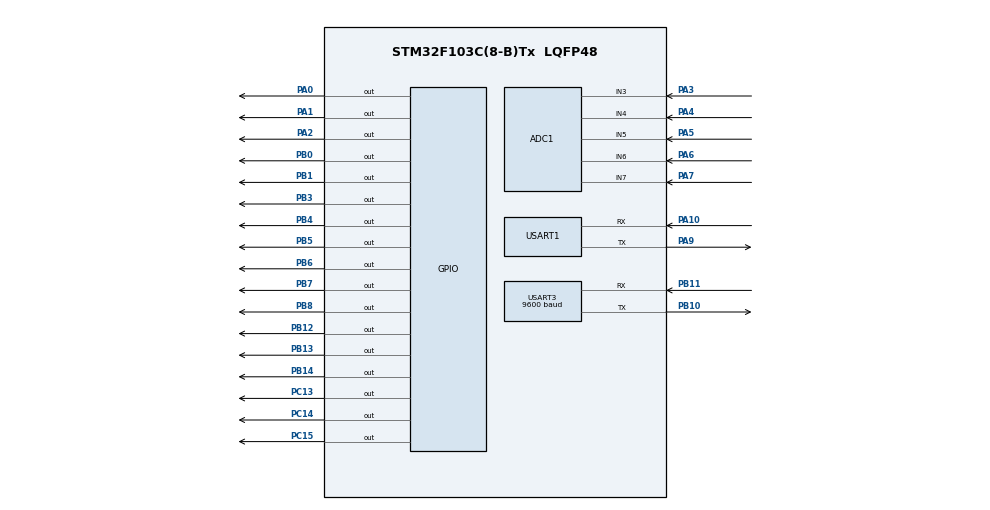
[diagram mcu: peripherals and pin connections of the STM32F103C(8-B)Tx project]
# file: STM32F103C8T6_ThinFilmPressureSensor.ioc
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ADC1.Channel-0\#ChannelRegularConversion=ADC_CHANNEL_3
ADC1.Channel-1\#ChannelRegularConversion=ADC_CHANNEL_4
ADC1.Channel-2\#ChannelRegularConversion=ADC_CHANNEL_5
ADC1.Channel-3\#ChannelRegularConversion=ADC_CHANNEL_6
ADC1.Channel-4\#ChannelRegularConversion=ADC_CHANNEL_7
ADC1.ContinuousConvMode=DISABLE
ADC1.DiscontinuousConvMode=DISABLE
ADC1.EnableInjectedConversion=DISABLE
ADC1.NbrOfConversion=5
ADC1.NbrOfConversionFlag=1
ADC1.Rank-0\#ChannelRegularConversion=1
ADC1.Rank-1\#ChannelRegularConversion=2
ADC1.Rank-2\#ChannelRegularConversion=3
ADC1.Rank-3\#ChannelRegularConversion=4
ADC1.Rank-4\#ChannelRegularConversion=5
ADC1.SamplingTime-0\#ChannelRegularConversion=ADC_SAMPLETIME_1CYCLE_5
ADC1.SamplingTime-1\#ChannelRegularConversion=ADC_SAMPLETIME_1CYCLE_5
ADC1.SamplingTime-2\#ChannelRegularConversion=ADC_SAMPLETIME_1CYCLE_5
ADC1.SamplingTime-3\#ChannelRegularConversion=ADC_SAMPLETIME_1CYCLE_5
ADC1.SamplingTime-4\#ChannelRegularConversion=ADC_SAMPLETIME_1CYCLE_5
ADC1.master=1
Dma.ADC1.0.Direction=DMA_PERIPH_TO_MEMORY
Dma.ADC1.0.Instance=DMA1_Channel1
Dma.ADC1.0.MemDataAlignment=DMA_MDATAALIGN_HALFWORD
Dma.ADC1.0.MemInc=DMA_MINC_ENABLE
Dma.ADC1.0.Mode=DMA_CIRCULAR
Dma.ADC1.0.PeriphDataAlignment=DMA_PDATAALIGN_HALFWORD
Dma.ADC1.0.PeriphInc=DMA_PINC_DISABLE
Dma.ADC1.0.Priority=DMA_PRIORITY_LOW
Dma.Request0=ADC1
FREERTOS.Tasks01=defaultTask,0,128,StartDefaultTask,Default,NULL,Static,defaultTaskBuffer,defaultTaskControlBlock;scanADC,-3,128,StartTask02,Default,NULL,Dynamic,NULL,NULL;bleSend,-3,128,StartTask03,Default,NULL,Static,myTask03Buffer,myTask03ControlBlock
Mcu.Family=STM32F1
Mcu.Name=STM32F103C(8-B)Tx
Mcu.Package=LQFP48
NVIC.DMA1_Channel1_IRQn=true\:5\:0\:false\:false\:true\:true\:false\:true\:true
NVIC.PriorityGroup=NVIC_PRIORITYGROUP_4
PA0-WKUP.Signal=GPIO_Output
PA1.Signal=GPIO_Output
PA10.Mode=Asynchronous
PA10.Signal=USART1_RX
PA13.Mode=Serial_Wire
PA13.Signal=SYS_JTMS-SWDIO
PA14.Mode=Serial_Wire
PA14.Signal=SYS_JTCK-SWCLK
PA2.Signal=GPIO_Output
PA3.Signal=ADCx_IN3
PA4.Signal=ADCx_IN4
PA5.Signal=ADCx_IN5
PA6.Signal=ADCx_IN6
PA7.Signal=ADCx_IN7
PA9.Mode=Asynchronous
PA9.Signal=USART1_TX
PB0.Signal=GPIO_Output
PB1.Signal=GPIO_Output
PB10.Mode=Asynchronous
PB10.Signal=USART3_TX
PB11.Mode=Asynchronous
PB11.Signal=USART3_RX
PB12.Signal=GPIO_Output
PB13.Signal=GPIO_Output
PB14.Signal=GPIO_Output
PB3.Signal=GPIO_Output
PB4.Signal=GPIO_Output
PB5.Signal=GPIO_Output
PB6.Signal=GPIO_Output
PB7.Signal=GPIO_Output
PB8.Signal=GPIO_Output
PC13-TAMPER-RTC.Signal=GPIO_Output
PC14-OSC32_IN.Signal=GPIO_Output
PC15-OSC32_OUT.Signal=GPIO_Output
PD0-OSC_IN.Mode=HSE-External-Oscillator
PD0-OSC_IN.Signal=RCC_OSC_IN
PD1-OSC_OUT.Mode=HSE-External-Oscillator
PD1-OSC_OUT.Signal=RCC_OSC_OUT
ProjectManager.HeapSize=0x200
ProjectManager.StackSize=0x400
ProjectManager.TargetToolchain=MDK-ARM V5.32
RCC.APB1Freq_Value=8000000
RCC.APB2Freq_Value=8000000
SH.ADCx_IN3.0=ADC1_IN3,IN3
SH.ADCx_IN4.0=ADC1_IN4,IN4
SH.ADCx_IN5.0=ADC1_IN5,IN5
SH.ADCx_IN6.0=ADC1_IN6,IN6
SH.ADCx_IN7.0=ADC1_IN7,IN7
USART1.VirtualMode=VM_ASYNC
USART3.BaudRate=9600
USART3.VirtualMode=VM_ASYNC
VP_FREERTOS_VS_CMSIS_V1.Mode=CMSIS_V1
board=custom

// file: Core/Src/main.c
/* USER CODE BEGIN Header */
/**
  ******************************************************************************
  * @file           : main.c
  * @brief          : Main program body
  ******************************************************************************
  * @attention
  *
  * Copyright (c) 2024 STMicroelectronics.
  * All rights reserved.
  *
  * This software is licensed under terms that can be found in the LICENSE file
  * in the root directory of this software component.
  * If no LICENSE file comes with this software, it is provided AS-IS.
  *
  ******************************************************************************
  */
/* USER CODE END Header */
#include "main.h"
#include "cmsis_os.h"
#include "adc.h"
#include "dma.h"
#include "usart.h"
#include "gpio.h"

/* USER CODE BEGIN PTD */
machine_state_t machine_state;
/* USER CODE END PTD */

void SystemClock_Config(void);
void MX_FREERTOS_Init(void);

int main(void)
{

  /* MCU Configuration--------------------------------------------------------*/

  /* Reset of all peripherals, Initializes the Flash interface and the Systick. */
  HAL_Init();

  /* Configure the system clock */
  SystemClock_Config();

  /* Initialize all configured peripherals */
  MX_GPIO_Init();
  MX_DMA_Init();
  MX_ADC1_Init();
  MX_USART1_UART_Init();
  MX_USART3_UART_Init();

  /* Call init function for freertos objects (in cmsis_os2.c) */
  MX_FREERTOS_Init();

  /* Start scheduler */
  osKernelStart();

  /* We should never get here as control is now taken by the scheduler */

  /* Infinite loop */
  while (1)
  {

  }
}

void SystemClock_Config(void)
{
  RCC_OscInitTypeDef RCC_OscInitStruct = {0};
  RCC_ClkInitTypeDef RCC_ClkInitStruct = {0};
  RCC_PeriphCLKInitTypeDef PeriphClkInit = {0};

  /** Initializes the RCC Oscillators according to the specified parameters
  * in the RCC_OscInitTypeDef structure.
  */
  RCC_OscInitStruct.OscillatorType = RCC_OSCILLATORTYPE_HSI;
  RCC_OscInitStruct.HSIState = RCC_HSI_ON;
  RCC_OscInitStruct.HSICalibrationValue = RCC_HSICALIBRATION_DEFAULT;
  RCC_OscInitStruct.PLL.PLLState = RCC_PLL_NONE;
  if (HAL_RCC_OscConfig(&RCC_OscInitStruct) != HAL_OK)
  {
    Error_Handler();
  }

  /** Initializes the CPU, AHB and APB buses clocks
  */
  RCC_ClkInitStruct.ClockType = RCC_CLOCKTYPE_HCLK|RCC_CLOCKTYPE_SYSCLK
                              |RCC_CLOCKTYPE_PCLK1|RCC_CLOCKTYPE_PCLK2;
  RCC_ClkInitStruct.SYSCLKSource = RCC_SYSCLKSOURCE_HSI;
  RCC_ClkInitStruct.AHBCLKDivider = RCC_SYSCLK_DIV1;
  RCC_ClkInitStruct.APB1CLKDivider = RCC_HCLK_DIV1;
  RCC_ClkInitStruct.APB2CLKDivider = RCC_HCLK_DIV1;

  if (HAL_RCC_ClockConfig(&RCC_ClkInitStruct, FLASH_LATENCY_0) != HAL_OK)
  {
    Error_Handler();
  }
  PeriphClkInit.PeriphClockSelection = RCC_PERIPHCLK_ADC;
  PeriphClkInit.AdcClockSelection = RCC_ADCPCLK2_DIV2;
  if (HAL_RCCEx_PeriphCLKConfig(&PeriphClkInit) != HAL_OK)
  {
    Error_Handler();
  }
}

void Error_Handler(void)
{
  __disable_irq();
  while (1)
  {
  }
}

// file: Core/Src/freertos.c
/* USER CODE BEGIN Header */
/**
 ******************************************************************************
 * File Name          : freertos.c
 * Description        : Code for freertos applications
 ******************************************************************************
 * @attention
 *
 * Copyright (c) 2024 STMicroelectronics.
 * All rights reserved.
 *
 * This software is licensed under terms that can be found in the LICENSE file
 * in the root directory of this software component.
 * If no LICENSE file comes with this software, it is provided AS-IS.
 *
 ******************************************************************************
 */
/* USER CODE END Header */

#include "FreeRTOS.h"
#include "cmsis_os.h"
#include "main.h"
#include "task.h"

/* USER CODE BEGIN Includes */
#include "adc.h"
#include "stm32f103xb.h"
#include "usart.h"
#include <stdint.h>
#include <stdbool.h>
#include "../../User/hc4051.h"
/* USER CODE END Includes */

osThreadId          defaultTaskHandle;
uint32_t            defaultTaskBuffer[128];
osStaticThreadDef_t defaultTaskControlBlock;
osThreadId          scanADCHandle;
osThreadId          bleSendHandle;
uint32_t            myTask03Buffer[128];
osStaticThreadDef_t myTask03ControlBlock;

void StartDefaultTask(void const* argument);
void StartTask02(void const* argument);
void StartTask03(void const* argument);

void MX_FREERTOS_Init(void); /* (MISRA C 2004 rule 8.1) */

/* GetIdleTaskMemory prototype (linked to static allocation support) */
void vApplicationGetIdleTaskMemory(StaticTask_t** ppxIdleTaskTCBBuffer, StackType_t** ppxIdleTaskStackBuffer, uint32_t* pulIdleTaskStackSize);

/* USER CODE BEGIN GET_IDLE_TASK_MEMORY */
static StaticTask_t xIdleTaskTCBBuffer;
static StackType_t  xIdleStack[configMINIMAL_STACK_SIZE];

void vApplicationGetIdleTaskMemory(StaticTask_t** ppxIdleTaskTCBBuffer, StackType_t** ppxIdleTaskStackBuffer, uint32_t* pulIdleTaskStackSize)
{
    *ppxIdleTaskTCBBuffer   = &xIdleTaskTCBBuffer;
    *ppxIdleTaskStackBuffer = &xIdleStack[0];
    *pulIdleTaskStackSize   = configMINIMAL_STACK_SIZE;
    /* place for user code */
}
/* USER CODE END GET_IDLE_TASK_MEMORY */

void MX_FREERTOS_Init(void)
{

    /* Create the thread(s) */
    /* definition and creation of defaultTask */
    osThreadStaticDef(defaultTask, StartDefaultTask, osPriorityNormal, 0, 128, defaultTaskBuffer, &defaultTaskControlBlock);
    defaultTaskHandle = osThreadCreate(osThread(defaultTask), NULL);

    /* definition and creation of scanADC */
    osThreadDef(scanADC, StartTask02, osPriorityIdle, 0, 128);
    scanADCHandle = osThreadCreate(osThread(scanADC), NULL);

    /* definition and creation of bleSend */
    osThreadStaticDef(bleSend, StartTask03, osPriorityIdle, 0, 128, myTask03Buffer, &myTask03ControlBlock);
    bleSendHandle = osThreadCreate(osThread(bleSend), NULL);

}

void StartDefaultTask(void const* argument)
{
    for (;;)
    {
        osDelay(1);
    }
}

/* USER CODE BEGIN Header_StartTask02 */
/**
 * @brief Function implementing the scanADC thread.
 * @param argument: Not used
 * @retval None
 */
void set_ic1_s0(bool state)
{
    HAL_GPIO_WritePin(GPIOB, GPIO_PIN_3, state ? GPIO_PIN_SET : GPIO_PIN_RESET);
}
void set_ic1_s1(bool state)
{
    HAL_GPIO_WritePin(GPIOB, GPIO_PIN_4, state ? GPIO_PIN_SET : GPIO_PIN_RESET);
}
void set_ic1_s2(bool state)
{
    HAL_GPIO_WritePin(GPIOB, GPIO_PIN_5, state ? GPIO_PIN_SET : GPIO_PIN_RESET);
}
//
void set_ic2_s0(bool state)
{
    HAL_GPIO_WritePin(GPIOB, GPIO_PIN_6, state ? GPIO_PIN_SET : GPIO_PIN_RESET);
}
void set_ic2_s1(bool state)
{
    HAL_GPIO_WritePin(GPIOB, GPIO_PIN_7, state ? GPIO_PIN_SET : GPIO_PIN_RESET);
}
void set_ic2_s2(bool state)
{
    HAL_GPIO_WritePin(GPIOB, GPIO_PIN_8, state ? GPIO_PIN_SET : GPIO_PIN_RESET);
}
//
void set_ic3_s0(bool state)
{
    HAL_GPIO_WritePin(GPIOA, GPIO_PIN_2, state ? GPIO_PIN_SET : GPIO_PIN_RESET);
}
void set_ic3_s1(bool state)
{
    HAL_GPIO_WritePin(GPIOA, GPIO_PIN_1, state ? GPIO_PIN_SET : GPIO_PIN_RESET);
}
void set_ic3_s2(bool state)
{
    HAL_GPIO_WritePin(GPIOB, GPIO_PIN_0, state ? GPIO_PIN_SET : GPIO_PIN_RESET);
}
//
void set_ic4_s0(bool state)
{
    HAL_GPIO_WritePin(GPIOC, GPIO_PIN_13, state ? GPIO_PIN_SET : GPIO_PIN_RESET);
}
void set_ic4_s1(bool state)
{
    HAL_GPIO_WritePin(GPIOC, GPIO_PIN_14, state ? GPIO_PIN_SET : GPIO_PIN_RESET);
}
void set_ic4_s2(bool state)
{
    HAL_GPIO_WritePin(GPIOC, GPIO_PIN_15, state ? GPIO_PIN_SET : GPIO_PIN_RESET);
}
//
void set_ic5_s0(bool state)
{
    HAL_GPIO_WritePin(GPIOB, GPIO_PIN_14, state ? GPIO_PIN_SET : GPIO_PIN_RESET);
}
void set_ic5_s1(bool state)
{
    HAL_GPIO_WritePin(GPIOB, GPIO_PIN_13, state ? GPIO_PIN_SET : GPIO_PIN_RESET);
}
void set_ic5_s2(bool state)
{
    HAL_GPIO_WritePin(GPIOB, GPIO_PIN_12, state ? GPIO_PIN_SET : GPIO_PIN_RESET);
}
/* USER CODE END Header_StartTask02 */
void StartTask02(void const* argument)
{
    /* USER CODE BEGIN StartTask02 */

    // 初始化HC4051
    hc4051_init(&HC4051_ic1, set_ic1_s0, set_ic1_s1, set_ic1_s2, NULL);
    hc4051_init(&HC4051_ic2, set_ic2_s0, set_ic2_s1, set_ic2_s2, NULL);
    hc4051_init(&HC4051_ic3, set_ic3_s0, set_ic3_s1, set_ic3_s2, NULL);
    hc4051_init(&HC4051_ic4, set_ic4_s0, set_ic4_s1, set_ic4_s2, NULL);
    hc4051_init(&HC4051_ic5, set_ic5_s0, set_ic5_s1, set_ic5_s2, NULL);

    /* Infinite loop */
    for (;;)
    {
        // 将DMA数据转换为ADC值
        machine_state.hc4051_ic1_current_ADC                                             = machine_state.dma_adc[0];
        machine_state.hc4051_ic2_current_ADC                                             = machine_state.dma_adc[1];
        machine_state.hc4051_ic3_current_ADC                                             = machine_state.dma_adc[2];
        machine_state.hc4051_ic4_current_ADC                                             = machine_state.dma_adc[3];
        machine_state.hc4051_ic5_current_ADC                                             = machine_state.dma_adc[4];
        machine_state.thinFilePressSensor_ADC[machine_state.hc4051_ic1_channel]          = machine_state.hc4051_ic1_current_ADC;
        machine_state.thinFilePressSensor_ADC[machine_state.hc4051_ic2_channel + 8 - 1]  = machine_state.hc4051_ic2_current_ADC;
        machine_state.thinFilePressSensor_ADC[machine_state.hc4051_ic3_channel + 16 - 1] = machine_state.hc4051_ic3_current_ADC;
        machine_state.thinFilePressSensor_ADC[machine_state.hc4051_ic4_channel + 24 - 1] = machine_state.hc4051_ic4_current_ADC;
        machine_state.thinFilePressSensor_ADC[machine_state.hc4051_ic5_channel + 32 - 1] = machine_state.hc4051_ic5_current_ADC;
        // 通道号
        machine_state.hc4051_ic1_channel++;
        if (machine_state.hc4051_ic1_channel > 7)
        {
            machine_state.hc4051_ic1_channel = 0;
        }
        machine_state.hc4051_ic2_channel++;
        if (machine_state.hc4051_ic2_channel > 7)
        {
            machine_state.hc4051_ic2_channel = 0;
        }
        machine_state.hc4051_ic3_channel++;
        if (machine_state.hc4051_ic3_channel > 7)
        {
            machine_state.hc4051_ic3_channel = 0;
        }
        machine_state.hc4051_ic4_channel++;
        if (machine_state.hc4051_ic4_channel > 7)
        {
            machine_state.hc4051_ic4_channel = 0;
        }
        machine_state.hc4051_ic5_channel++;
        if (machine_state.hc4051_ic5_channel > 7)
        {
            machine_state.hc4051_ic5_channel = 0;
        }
        hc4051_selectChannel(&HC4051_ic1, machine_state.hc4051_ic1_channel);
        hc4051_selectChannel(&HC4051_ic2, machine_state.hc4051_ic2_channel);
        hc4051_selectChannel(&HC4051_ic3, machine_state.hc4051_ic3_channel);
        hc4051_selectChannel(&HC4051_ic4, machine_state.hc4051_ic4_channel);
        hc4051_selectChannel(&HC4051_ic5, machine_state.hc4051_ic5_channel);
        HAL_ADC_Start_DMA(&hadc1, (uint32_t*)machine_state.dma_adc, 5);
        osDelay(pdMS_TO_TICKS(100));
    }
    /* USER CODE END StartTask02 */
}

void StartTask03(void const* argument)
{
    /* USER CODE BEGIN StartTask03 */
    /* Infinite loop */
    for (;;)
    {
        if (machine_state.ble_select == 1)
        {
            machine_state.ble_data_select = machine_state.ble_data_bin1;
            machine_state.ble_data_other  = machine_state.ble_data_bin2;
        }
        else
        {
            machine_state.ble_data_select = machine_state.ble_data_bin2;
            machine_state.ble_data_other  = machine_state.ble_data_bin1;
        }
        HAL_UART_Transmit_IT(&huart3, machine_state.ble_data_select, 1024);
        sprintf(
            machine_state.ble_data_other, "1:%d,%d,%d,%d,%d,%d,%d,%d,%d,%d,%d,%d,%d,%d,%d,%d,%d,%d,%d,%d,%d,%d,%d,%d,%d,%d,%d,%d,%d,%d,%d,%d,%d,%d,%d,%d",  //
            machine_state.thinFilePressSensor_ADC[0], machine_state.thinFilePressSensor_ADC[1], machine_state.thinFilePressSensor_ADC[2], machine_state.thinFilePressSensor_ADC[3],
            machine_state.thinFilePressSensor_ADC[4], machine_state.thinFilePressSensor_ADC[5], machine_state.thinFilePressSensor_ADC[6], machine_state.thinFilePressSensor_ADC[7],
            machine_state.thinFilePressSensor_ADC[8], machine_state.thinFilePressSensor_ADC[9], machine_state.thinFilePressSensor_ADC[10], machine_state.thinFilePressSensor_ADC[11],
            machine_state.thinFilePressSensor_ADC[12], machine_state.thinFilePressSensor_ADC[13], machine_state.thinFilePressSensor_ADC[14], machine_state.thinFilePressSensor_ADC[15],
            machine_state.thinFilePressSensor_ADC[16], machine_state.thinFilePressSensor_ADC[17], machine_state.thinFilePressSensor_ADC[18], machine_state.thinFilePressSensor_ADC[19],
            machine_state.thinFilePressSensor_ADC[20], machine_state.thinFilePressSensor_ADC[21], machine_state.thinFilePressSensor_ADC[22], machine_state.thinFilePressSensor_ADC[23],
            machine_state.thinFilePressSensor_ADC[24], machine_state.thinFilePressSensor_ADC[25], machine_state.thinFilePressSensor_ADC[26], machine_state.thinFilePressSensor_ADC[27],
            machine_state.thinFilePressSensor_ADC[28], machine_state.thinFilePressSensor_ADC[29], machine_state.thinFilePressSensor_ADC[30], machine_state.thinFilePressSensor_ADC[31],
            machine_state.thinFilePressSensor_ADC[32], machine_state.thinFilePressSensor_ADC[33], machine_state.thinFilePressSensor_ADC[34], machine_state.thinFilePressSensor_ADC[35]);

        osDelay(pdMS_TO_TICKS(10));
    }
    /* USER CODE END StartTask03 */
}
